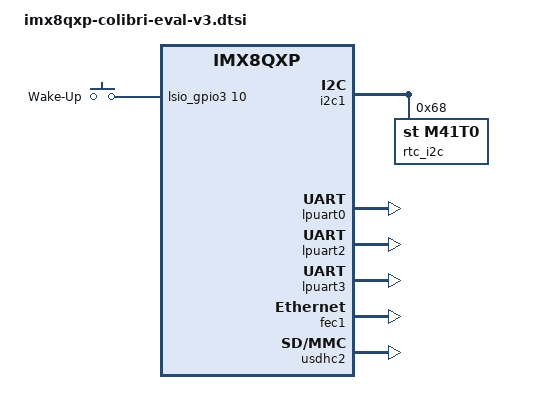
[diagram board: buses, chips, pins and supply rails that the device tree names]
// SPDX-License-Identifier: GPL-2.0+ OR MIT
/*
 * Copyright 2019 Toradex
 */

#include "dt-bindings/input/linux-event-codes.h"

/ {
	aliases {
		rtc0 = &rtc_i2c;
		rtc1 = &rtc;
	};

	gpio-keys {
		compatible = "gpio-keys";
		pinctrl-names = "default";
		pinctrl-0 = <&pinctrl_gpiokeys>;

		wakeup {
			label = "Wake-Up";
			gpios = <&lsio_gpio3 10 GPIO_ACTIVE_HIGH>;
			linux,code = <KEY_WAKEUP>;
			debounce-interval = <10>;
			wakeup-source;
		};
	};
};

&i2c1 {
	status = "okay";

	/* M41T0M6 real time clock on carrier board */
	rtc_i2c: rtc@68 {
		compatible = "st,m41t0";
		reg = <0x68>;
	};
};

/* Colibri UART_B */
&lpuart0 {
	status= "okay";
};

/* Colibri UART_C */
&lpuart2 {
	status= "okay";
};

/* Colibri UART_A */
&lpuart3 {
	status= "okay";
};

/* Colibri FastEthernet */
&fec1 {
	status = "okay";
};

/* Colibri SD/MMC Card */
&usdhc2 {
	status = "okay";
};
